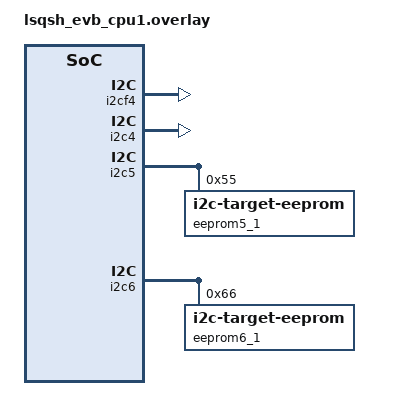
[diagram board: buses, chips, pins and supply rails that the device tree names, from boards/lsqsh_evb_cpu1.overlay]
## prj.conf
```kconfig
CONFIG_I2C_FILTER_LINKEDSEMI=y
CONFIG_I2C=y
CONFIG_I2C_TARGET=y
CONFIG_I2C_EEPROM_TARGET=y
CONFIG_SMBUS=y
CONFIG_SMBUS_LINKEDSEMI_SMBALERT=n
```

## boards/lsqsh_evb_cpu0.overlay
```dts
#include "../../../include/lsqsh_pinctrl_pfr_tpm.dtsi"

/ {
    aliases {
        i2cmaster1 = &i2c5;
        i2cmaster2 = &i2c10;
        i2cfilter = &i2cf3;
        eeprom1 = &eeprom10_50;
    };
};

&i2cf1 {
    status = "okay";
};

&i2cf2 {
    status = "okay";
};

&i2cf3 {
    status = "okay";
};

&i2cf4 {
    status = "okay";
};

&i2c2 {
    // pinctrl-0 = <&i2c2_sda_pb10 &i2c2_scl_pb11>;
    // pinctrl-names = "default";
    status = "okay";
};

&i2c5 {
    // pinctrl-0 = <&i2c5_scl_pe10 &i2c5_sda_pe11>;
    // pinctrl-names = "default";
    status = "okay";
};

&i2c10 {
    // pinctrl-0 = <&i2c10_scl_pj03 &i2c10_sda_pj02>;
    // pinctrl-names = "default";
    status = "okay";

    eeprom10_50: eeprom@50 {
        compatible = "zephyr,i2c-target-eeprom";
        reg = <0x50>;
        size = <256>;
        status = "okay";
    };
};

// &i2c13 {
//     pinctrl-0 = <&i2c13_sda_pn11 &i2c13_scl_pn15>;
//     pinctrl-names = "default";
//     status = "disabled";

//     eeprom13_50: eeprom@50 {
//         compatible = "zephyr,i2c-target-eeprom";
//         reg = <0x50>;
//         size = <256>;
//         status = "disabled";
//     };
// };
```

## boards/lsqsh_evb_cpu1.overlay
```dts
#include "lsqsh_pinctrl_pfr_tpm.dtsi"

/ {
    aliases {
        i2cmaster1 = &i2c5;
        i2cmaster2 = &i2c6;
        i2cfilter = &i2cf4;
        i2ctargeteeprom1 = &eeprom5_1;
        i2ctargeteeprom2 = &eeprom6_1;
    };
};

// &i2cf1 {
//     status = "okay";
// };
//
// &i2cf2 {
//     status = "okay";
// };
//
// &i2cf3 {
//     status = "okay";
// };

&i2cf4 {
    status = "okay";
};

// &i2c1 {
//     status = "okay";
// };
//
// &i2c2 {
//     status = "okay";
// };
//
// &i2c3 {
//     status = "okay";
// };

&i2c4 {
    status = "okay";
};

&i2c5 {
    status = "okay";

    eeprom5_1: eeprom@55 {
        compatible = "zephyr,i2c-target-eeprom";
        reg = <0x55>;
        size = <256>;
        status = "okay";
    };
};

&i2c6 {
    status = "okay";

    eeprom6_1: eeprom@66 {
        compatible = "zephyr,i2c-target-eeprom";
        reg = <0x66>;
        size = <256>;
        status = "okay";
    };
};
```

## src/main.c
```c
/*
 * Copyright (c) 2024 Linkedsemi
 *
 * SPDX-License-Identifier: Apache-2.0
 */

/*
1. set bitmap
2. for i in data_len:
        xxx
        for j in command_code:
            yyy
            gen rand data,
            expect ret val
3. gen waveform
   compare ret val
*/

#if !defined(CONFIG_I2C_FILTER_LINKEDSEMI)
    #error no CONFIG_I2C_FILTER_LINKEDSEMI define
#endif
#if !defined(CONFIG_I2C)
    #error no CONFIG_I2C define
#endif

#include <zephyr/drivers/i2c.h>
#include <zephyr/kernel.h>
#include <stdlib.h>
#include <stdio.h>
#include <zephyr/kernel.h>
#include <i2c_filter.h>
// #include "ls_soc_gpio.h"

#define BUF_SIZE   256
uint8_t wdata_buf[BUF_SIZE];
uint8_t rdata_buf[BUF_SIZE];

/* set whitelist mode on/off */
static bool is_whitelist_on = true;

static void gen_rand_data(uint8_t *buf, uint16_t len)
{
    while (len--) {
        *buf++ = rand();
    }
}

static int write_read_compare(const struct device *const i2c, uint16_t dev_addr, uint8_t start_addr, const uint8_t *wdata, uint8_t *rdata, uint16_t len)
{
    i2c_burst_write(i2c, dev_addr, start_addr, wdata, len);
#if 0
    io_toggle_pin(PA02);
#endif
    i2c_burst_read(i2c, dev_addr, start_addr, rdata, len);
    if (memcmp(wdata, rdata, len)) {
        printf("len: %d\n", len);
        printf("start_addr: %#x\n", start_addr);
        printf("wdata: ");
        for (uint32_t i = 0; i < len; i++) {
            printf("%x ", wdata[i]);
        }
        printf("\n\n");
        printf("len: %d\n", len);
        printf("start_addr: %#x\n", start_addr);
        printf("rdata: ");
        for (uint32_t i = 0; i < len; i++) {
            printf("%x ", rdata[i]);
        }
        printf("\n\n");
        // __ASSERT(0, "wdata rdata not match\n");
        printf("wdata rdata not match\n");
        return -1;
    }
#if 1
    else {
        printf("len: %d\n", len);
        printf("start_addr: %#x\n", start_addr);
        printf("data: ");
        for (uint32_t i = 0; i < len; i++) {
            printf("%x ", wdata[i]);
        }
        printf("\n\n");
        printf("wdata rdata match\n");
    }
#endif
    return 0;
}

int main(void)
{
    const struct device *const i2cmaster1 = DEVICE_DT_GET(DT_ALIAS(i2cmaster1));
    static const struct device *i2ctargeteeprom1 = DEVICE_DT_GET(DT_ALIAS(i2ctargeteeprom1));
    static const struct device *i2ctargeteeprom2 = DEVICE_DT_GET(DT_ALIAS(i2ctargeteeprom2));
    const struct device *const i2cfilter = DEVICE_DT_GET(DT_ALIAS(i2cfilter));
    uint32_t bitmap[LINKEDSEMI_I2C_F_REMAP_SIZE_U32] = { 0 };
    uint32_t dump_bitmap[LINKEDSEMI_I2C_F_REMAP_SIZE_U32] = { 0 };
    uint16_t i2ctargeteeprom1_addr = DT_REG_ADDR(DT_ALIAS(i2ctargeteeprom1));
    uint16_t i2ctargeteeprom2_addr = DT_REG_ADDR(DT_ALIAS(i2ctargeteeprom2));
    uint8_t dump_addr = 0;

    // if (!device_is_ready(i2cmaster1)) {
    //     __ASSERT(0, "I2C device is not ready\n");
    // }
    // if (i2c_configure(i2cmaster1, I2C_SPEED_SET(I2C_SPEED_STANDARD) | I2C_MODE_CONTROLLER)) {
    //     __ASSERT(0, "I2C device config failed\n");
    // }
    if (!device_is_ready(i2ctargeteeprom1)) {
        printf("eeprom device not ready\n");
        return 0;
    }
    if (i2c_target_driver_register(i2ctargeteeprom1) < 0) {
        printf("Failed to register i2c target driver\n");
        return 0;
    }
    if (!device_is_ready(i2ctargeteeprom2)) {
        printf("eeprom device not ready\n");
        return 0;
    }
    if (i2c_target_driver_register(i2ctargeteeprom2) < 0) {
        printf("Failed to register i2c target driver\n");
        return 0;
    }
    linkedsemi_i2c_filter_cold_reset(i2cfilter);
#if 0
uint8_t bit = 0;
uint16_t len = 2;
uint16_t start_addr = 1;
memset(rdata_buf, 0, len);
sys_bitfield_set_bit((mem_addr_t)bitmap, bit);
linkedsemi_i2c_filter_en(i2cfilter, false, true, false, false); /* close filter */
linkedsemi_i2c_filter_fill_bitmap(i2cfilter, 1, dev_addr, bitmap); /* set bitmap (ch0 reserved) */
linkedsemi_i2c_filter_en(i2cfilter, true, true, false, false); /* reopen filter */
// i2c_burst_read(i2cmaster1, 0x50, 0x0, rdata_buf, len);
wdata_buf[0] = 0xe7;
wdata_buf[1] = 0x2;
write_read_compare(i2cmaster1, dev_addr, start_addr++, wdata_buf, rdata_buf, len);
// write_read_compare(i2cmaster1, dev_addr, start_addr++, wdata_buf, rdata_buf, len);
// write_read_compare(i2cmaster1, dev_addr, start_addr++, wdata_buf, rdata_buf, len);
while(1);
#endif

#if 0
uint8_t bit = 0;
uint16_t len = 2;
uint16_t start_addr = 0;
memset(rdata_buf, 0, len);
sys_bitfield_set_bit((mem_addr_t)bitmap, bit);
linkedsemi_i2c_filter_en(i2cfilter, false, true, false, false); /* close filter */
linkedsemi_i2c_filter_fill_bitmap(i2cfilter, 1, dev_addr, bitmap); /* set bitmap (ch0 reserved) */
linkedsemi_i2c_filter_en(i2cfilter, true, true, false, false); /* reopen filter */
// i2c_burst_read(i2cmaster1, 0x50, 0x0, rdata_buf, len);
wdata_buf[0] = 0xe7;
wdata_buf[1] = 0x94;
write_read_compare(i2cmaster1, dev_addr, start_addr++, wdata_buf, rdata_buf, len);
write_read_compare(i2cmaster1, dev_addr, start_addr++, wdata_buf, rdata_buf, len);
// write_read_compare(i2cmaster1, dev_addr, start_addr++, wdata_buf, rdata_buf, len);
while(1);
#endif
    // while (1) {;
    for (uint8_t bit = 0; bit <= 0xff; bit++) {
        printf("\n------------------------------------------------------\n");
        sys_bitfield_set_bit((mem_addr_t)bitmap, bit);
        linkedsemi_i2c_filter_en(i2cfilter, false, is_whitelist_on, false, false); /* disable filter */
        linkedsemi_i2c_filter_fill_bitmap(i2cfilter, 1, i2ctargeteeprom2_addr, bitmap); /* set bitmap (ch0 reserved) */
        linkedsemi_i2c_filter_dump_bitmap(i2cfilter, 1, &dump_addr, dump_bitmap);
        int ret = memcmp(bitmap, dump_bitmap, LINKEDSEMI_I2C_F_REMAP_SIZE_BYTE);
        __ASSERT_NO_MSG(ret == 0);
        __ASSERT_NO_MSG(i2ctargeteeprom2_addr == dump_addr);
        linkedsemi_i2c_filter_en(i2cfilter, true, is_whitelist_on, false, false); /* enable filter */
        for (uint16_t len = 1; len <= BUF_SIZE; len++) {
            printf("\n++++++++++++++++++++++++++++++++++++++++++++++++++++++\n");
            for (uint16_t start_addr = 0; start_addr <= 0xff; start_addr++) {
                printf("\n******************************************************\n");
                uint16_t page_len = BUF_SIZE - start_addr;
                uint16_t curr_len = len < page_len ? len : page_len;

                memset(rdata_buf, 0, curr_len);
                do {
                    gen_rand_data(wdata_buf, curr_len);
//#if 0
                } while(wdata_buf[0] == 0);
// #else
//                     wdata_buf[0] &= 0x7f;
//                 } while ((wdata_buf[0] == 0) || (wdata_buf[0] & BIT(7)));
// #endif
                    int expect_ret = -1;
                    if (sys_bitfield_test_bit((mem_addr_t)bitmap, start_addr)) {
                        expect_ret = 0;
                    }
                    int ret = write_read_compare(i2cmaster1, i2ctargeteeprom2_addr, start_addr, wdata_buf, rdata_buf, curr_len);
                    if (ret != expect_ret) {
                        if (is_whitelist_on) {
                            __ASSERT(0, "filter not work\n");
                        } else {
                            printf("filter not work\n");
                        }
                    }
                    printf("bit: %d  len: %d  start_addr: %#x\n", bit, len, start_addr);
                    printf("result: pass\n");
                    memset(wdata_buf, 0, curr_len);
                    i2c_burst_write(i2cmaster1, i2ctargeteeprom2_addr, start_addr, wdata_buf, curr_len);
                }
            }
            sys_bitfield_clear_bit((mem_addr_t)bitmap, bit);
        }
    // }

    return 0;
}
```
